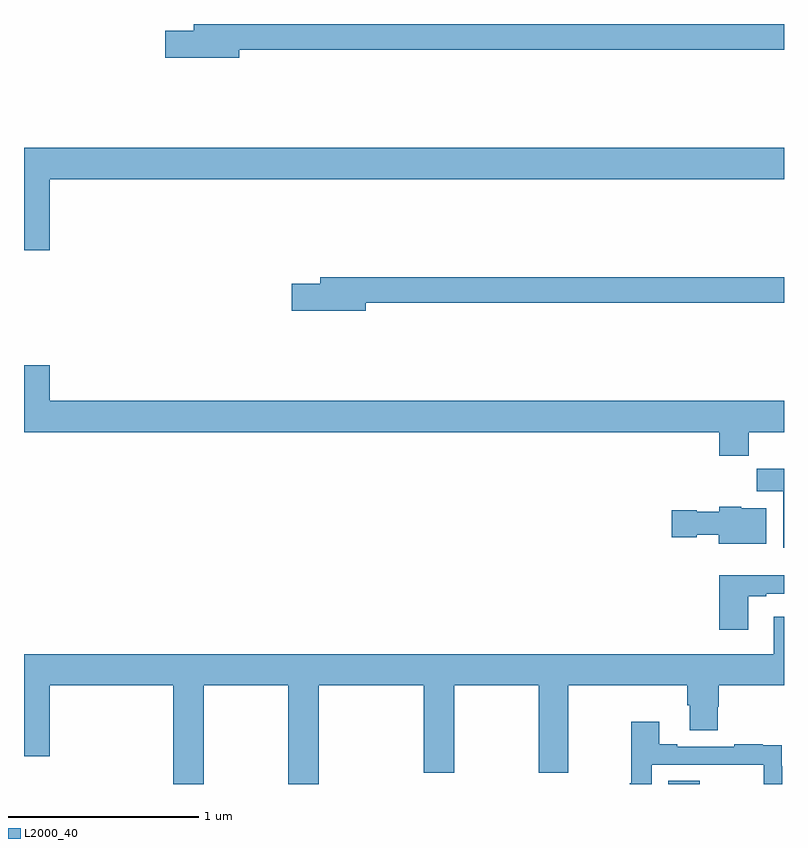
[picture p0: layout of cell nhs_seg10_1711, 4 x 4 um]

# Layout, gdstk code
import gdstk
lib = gdstk.Library(unit=1e-6, precision=1e-09)
def R(c, l, rs):  # rectangles x0, y0, x1, y1
    for r in rs: c.add(gdstk.rectangle(r[:2], r[2:], *l))
def P(c, l, *ps):  # polygons
    for p in ps: c.add(gdstk.Polygon(p, *l))
L2000_40 = (2000, 40)

nhs_seg10_1711 = lib.new_cell('nhs_seg10_1711')
R(nhs_seg10_1711, L2000_40, [(204.392,1262.5,204.556,1262.516)])
P(nhs_seg10_1711, L2000_40, [(202.132,1266.364),(205,1266.364),(205,1266.5),(201.893,1266.5),(201.893,1266.464),(201.744,1266.464),(201.744,1266.322),(202.132,1266.322)],
  [(201.136,1265.684),(205,1265.684),(205,1265.848),(201,1265.848),(201,1265.31),(201.136,1265.31)],
  [(202.798,1265.032),(205,1265.032),(205,1265.168),(202.559,1265.168),(202.559,1265.132),(202.41,1265.132),(202.41,1264.99),(202.798,1264.99)],
  [(204.815,1264.352),(205,1264.352),(205,1264.516),(201.136,1264.516),(201.136,1264.705),(201,1264.705),(201,1264.352),(204.659,1264.352),(204.659,1264.228),(204.815,1264.228)],
  [(205,1264.159),(204.856,1264.159),(204.856,1264.04),(204.995,1264.04),(204.995,1263.744),(205,1263.744)],
  [(204.907,1263.952),(204.774,1263.952),(204.774,1263.958),(204.66,1263.958),(204.66,1263.934),(204.54,1263.934),(204.54,1263.942),(204.408,1263.942),(204.408,1263.8),(204.54,1263.8),(204.54,1263.812),(204.656,1263.812),(204.656,1263.764),(204.907,1263.764)],
  [(204.811,1263.489),(204.907,1263.489),(204.907,1263.501),(205,1263.501),(205,1263.598),(204.659,1263.598),(204.659,1263.312),(204.811,1263.312)],
  [(201.945,1263.02),(202.39,1263.02),(202.39,1262.5),(202.55,1262.5),(202.55,1263.02),(203.105,1263.02),(203.105,1262.559),(203.265,1262.559),(203.265,1263.02),(203.71,1263.02),(203.71,1262.559),(203.865,1262.559),(203.865,1263.02),(204.491,1263.02),(204.491,1262.914),(204.503,1262.914),(204.503,1262.782),(204.651,1262.782),(204.651,1262.907),(204.656,1262.907),(204.656,1263.02),(205,1263.02),(205,1263.379),(204.947,1263.379),(204.947,1263.184),(201,1263.184),(201,1262.646),(201.136,1262.646),(201.136,1263.02),(201.785,1263.02),(201.785,1262.5),(201.945,1262.5)],
  [(204.303,1262.601),(204.894,1262.601),(204.894,1262.5),(204.99,1262.5),(204.99,1262.594),(204.989,1262.594),(204.989,1262.703),(204.887,1262.703),(204.887,1262.71),(204.739,1262.71),(204.739,1262.697),(204.439,1262.697),(204.439,1262.71),(204.343,1262.71),(204.343,1262.827),(204.195,1262.827),(204.195,1262.504),(204.187,1262.504),(204.187,1262.5),(204.303,1262.5)])

lib.write_gds('nhs_seg10_1711.gds')
